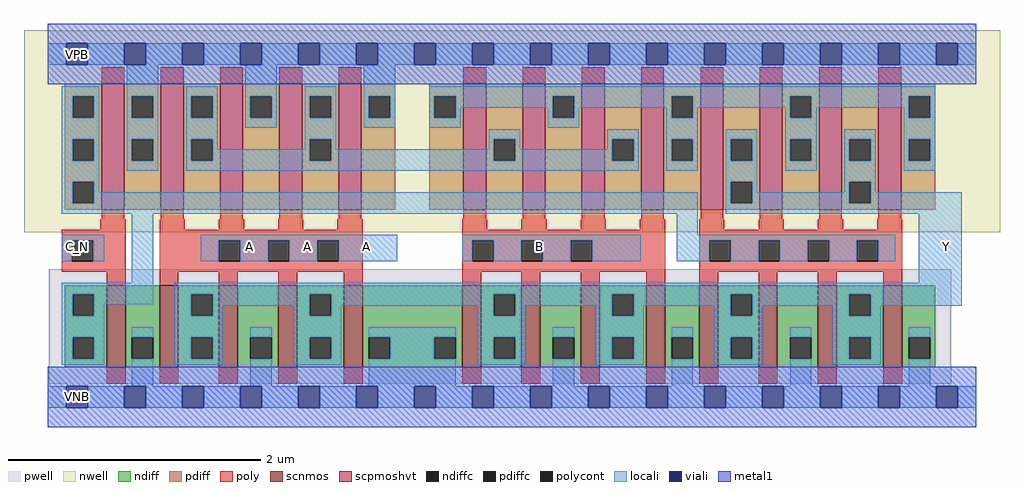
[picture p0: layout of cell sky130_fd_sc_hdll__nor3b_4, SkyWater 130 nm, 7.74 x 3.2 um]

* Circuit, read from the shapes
.subckt sky130_fd_sc_hdll__nor3b_4 A B C_N VGND VNB VPB VPWR Y
XM1 VGND C_N n1 VNB sky130_fd_pr__nfet_01v8 w=0.65 l=0.15
XM2 Y A VGND VNB sky130_fd_pr__nfet_01v8 w=0.65 l=0.15 m=4
XM3 Y B VGND VNB sky130_fd_pr__nfet_01v8 w=0.65 l=0.15 m=4
XM4 Y n1 VGND VNB sky130_fd_pr__nfet_01v8 w=0.65 l=0.15 m=4
XM5 VPWR C_N n1 VPB sky130_fd_pr__pfet_01v8_hvt w=1 l=0.18
XM6 n2 A VPWR VPB sky130_fd_pr__pfet_01v8_hvt w=1 l=0.18 m=4
XM7 n2 B n3 VPB sky130_fd_pr__pfet_01v8_hvt w=1 l=0.18 m=4
XM8 Y n1 n3 VPB sky130_fd_pr__pfet_01v8_hvt w=1 l=0.18 m=4
.ends

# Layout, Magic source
magic
tech sky130A
magscale 1 2
<< nwell >>
rect -38 261 1510 582
<< pwell >>
rect 1 21 1433 203
rect 30 -17 64 21
<< scnmos >>
rect 93 47 123 177
rect 177 47 207 177
rect 271 47 301 177
rect 365 47 395 177
rect 469 47 499 177
rect 657 47 687 177
rect 751 47 781 177
rect 845 47 875 177
rect 949 47 979 177
rect 1033 47 1063 177
rect 1127 47 1157 177
rect 1221 47 1251 177
rect 1325 47 1355 177
<< scpmoshvt >>
rect 85 297 121 497
rect 179 297 215 497
rect 273 297 309 497
rect 367 297 403 497
rect 461 297 497 497
rect 659 297 695 497
rect 753 297 789 497
rect 847 297 883 497
rect 941 297 977 497
rect 1035 297 1071 497
rect 1129 297 1165 497
rect 1223 297 1259 497
rect 1317 297 1353 497
<< ndiff >>
rect 27 163 93 177
rect 27 129 39 163
rect 73 129 93 163
rect 27 95 93 129
rect 27 61 39 95
rect 73 61 93 95
rect 27 47 93 61
rect 123 95 177 177
rect 123 61 133 95
rect 167 61 177 95
rect 123 47 177 61
rect 207 163 271 177
rect 207 129 227 163
rect 261 129 271 163
rect 207 95 271 129
rect 207 61 227 95
rect 261 61 271 95
rect 207 47 271 61
rect 301 95 365 177
rect 301 61 321 95
rect 355 61 365 95
rect 301 47 365 61
rect 395 163 469 177
rect 395 129 415 163
rect 449 129 469 163
rect 395 95 469 129
rect 395 61 415 95
rect 449 61 469 95
rect 395 47 469 61
rect 499 95 657 177
rect 499 61 509 95
rect 543 61 613 95
rect 647 61 657 95
rect 499 47 657 61
rect 687 163 751 177
rect 687 129 707 163
rect 741 129 751 163
rect 687 95 751 129
rect 687 61 707 95
rect 741 61 751 95
rect 687 47 751 61
rect 781 95 845 177
rect 781 61 801 95
rect 835 61 845 95
rect 781 47 845 61
rect 875 163 949 177
rect 875 129 895 163
rect 929 129 949 163
rect 875 95 949 129
rect 875 61 895 95
rect 929 61 949 95
rect 875 47 949 61
rect 979 95 1033 177
rect 979 61 989 95
rect 1023 61 1033 95
rect 979 47 1033 61
rect 1063 163 1127 177
rect 1063 129 1083 163
rect 1117 129 1127 163
rect 1063 95 1127 129
rect 1063 61 1083 95
rect 1117 61 1127 95
rect 1063 47 1127 61
rect 1157 95 1221 177
rect 1157 61 1177 95
rect 1211 61 1221 95
rect 1157 47 1221 61
rect 1251 163 1325 177
rect 1251 129 1271 163
rect 1305 129 1325 163
rect 1251 95 1325 129
rect 1251 61 1271 95
rect 1305 61 1325 95
rect 1251 47 1325 61
rect 1355 95 1407 177
rect 1355 61 1365 95
rect 1399 61 1407 95
rect 1355 47 1407 61
<< pdiff >>
rect 27 477 85 497
rect 27 443 39 477
rect 73 443 85 477
rect 27 409 85 443
rect 27 375 39 409
rect 73 375 85 409
rect 27 341 85 375
rect 27 307 39 341
rect 73 307 85 341
rect 27 297 85 307
rect 121 477 179 497
rect 121 443 133 477
rect 167 443 179 477
rect 121 409 179 443
rect 121 375 133 409
rect 167 375 179 409
rect 121 297 179 375
rect 215 477 273 497
rect 215 443 227 477
rect 261 443 273 477
rect 215 409 273 443
rect 215 375 227 409
rect 261 375 273 409
rect 215 297 273 375
rect 309 477 367 497
rect 309 443 321 477
rect 355 443 367 477
rect 309 297 367 443
rect 403 477 461 497
rect 403 443 415 477
rect 449 443 461 477
rect 403 409 461 443
rect 403 375 415 409
rect 449 375 461 409
rect 403 297 461 375
rect 497 477 551 497
rect 497 443 509 477
rect 543 443 551 477
rect 497 297 551 443
rect 605 477 659 497
rect 605 443 613 477
rect 647 443 659 477
rect 605 297 659 443
rect 695 409 753 497
rect 695 375 707 409
rect 741 375 753 409
rect 695 297 753 375
rect 789 477 847 497
rect 789 443 801 477
rect 835 443 847 477
rect 789 297 847 443
rect 883 409 941 497
rect 883 375 895 409
rect 929 375 941 409
rect 883 297 941 375
rect 977 477 1035 497
rect 977 443 989 477
rect 1023 443 1035 477
rect 977 409 1035 443
rect 977 375 989 409
rect 1023 375 1035 409
rect 977 297 1035 375
rect 1071 409 1129 497
rect 1071 375 1083 409
rect 1117 375 1129 409
rect 1071 341 1129 375
rect 1071 307 1083 341
rect 1117 307 1129 341
rect 1071 297 1129 307
rect 1165 477 1223 497
rect 1165 443 1177 477
rect 1211 443 1223 477
rect 1165 409 1223 443
rect 1165 375 1177 409
rect 1211 375 1223 409
rect 1165 297 1223 375
rect 1259 409 1317 497
rect 1259 375 1271 409
rect 1305 375 1317 409
rect 1259 341 1317 375
rect 1259 307 1271 341
rect 1305 307 1317 341
rect 1259 297 1317 307
rect 1353 477 1407 497
rect 1353 443 1365 477
rect 1399 443 1407 477
rect 1353 409 1407 443
rect 1353 375 1365 409
rect 1399 375 1407 409
rect 1353 297 1407 375
<< ndiffc >>
rect 39 129 73 163
rect 39 61 73 95
rect 133 61 167 95
rect 227 129 261 163
rect 227 61 261 95
rect 321 61 355 95
rect 415 129 449 163
rect 415 61 449 95
rect 509 61 543 95
rect 613 61 647 95
rect 707 129 741 163
rect 707 61 741 95
rect 801 61 835 95
rect 895 129 929 163
rect 895 61 929 95
rect 989 61 1023 95
rect 1083 129 1117 163
rect 1083 61 1117 95
rect 1177 61 1211 95
rect 1271 129 1305 163
rect 1271 61 1305 95
rect 1365 61 1399 95
<< pdiffc >>
rect 39 443 73 477
rect 39 375 73 409
rect 39 307 73 341
rect 133 443 167 477
rect 133 375 167 409
rect 227 443 261 477
rect 227 375 261 409
rect 321 443 355 477
rect 415 443 449 477
rect 415 375 449 409
rect 509 443 543 477
rect 613 443 647 477
rect 707 375 741 409
rect 801 443 835 477
rect 895 375 929 409
rect 989 443 1023 477
rect 989 375 1023 409
rect 1083 375 1117 409
rect 1083 307 1117 341
rect 1177 443 1211 477
rect 1177 375 1211 409
rect 1271 375 1305 409
rect 1271 307 1305 341
rect 1365 443 1399 477
rect 1365 375 1399 409
<< poly >>
rect 85 497 121 523
rect 179 497 215 523
rect 273 497 309 523
rect 367 497 403 523
rect 461 497 497 523
rect 659 497 695 523
rect 753 497 789 523
rect 847 497 883 523
rect 941 497 977 523
rect 1035 497 1071 523
rect 1129 497 1165 523
rect 1223 497 1259 523
rect 1317 497 1353 523
rect 85 282 121 297
rect 179 282 215 297
rect 273 282 309 297
rect 367 282 403 297
rect 461 282 497 297
rect 659 282 695 297
rect 753 282 789 297
rect 847 282 883 297
rect 941 282 977 297
rect 1035 282 1071 297
rect 1129 282 1165 297
rect 1223 282 1259 297
rect 1317 282 1353 297
rect 83 265 123 282
rect 22 249 123 265
rect 22 215 38 249
rect 72 215 123 249
rect 22 199 123 215
rect 93 177 123 199
rect 177 265 217 282
rect 271 265 311 282
rect 365 265 405 282
rect 459 265 499 282
rect 177 249 499 265
rect 177 215 271 249
rect 305 215 349 249
rect 383 215 427 249
rect 461 215 499 249
rect 177 199 499 215
rect 177 177 207 199
rect 271 177 301 199
rect 365 177 395 199
rect 469 177 499 199
rect 657 265 697 282
rect 751 265 791 282
rect 845 265 885 282
rect 939 265 979 282
rect 657 249 979 265
rect 657 215 673 249
rect 707 215 751 249
rect 785 215 829 249
rect 863 215 979 249
rect 657 199 979 215
rect 657 177 687 199
rect 751 177 781 199
rect 845 177 875 199
rect 949 177 979 199
rect 1033 265 1073 282
rect 1127 265 1167 282
rect 1221 265 1261 282
rect 1315 265 1355 282
rect 1033 249 1355 265
rect 1033 215 1049 249
rect 1083 215 1127 249
rect 1161 215 1205 249
rect 1239 215 1283 249
rect 1317 215 1355 249
rect 1033 199 1355 215
rect 1033 177 1063 199
rect 1127 177 1157 199
rect 1221 177 1251 199
rect 1325 177 1355 199
rect 93 21 123 47
rect 177 21 207 47
rect 271 21 301 47
rect 365 21 395 47
rect 469 21 499 47
rect 657 21 687 47
rect 751 21 781 47
rect 845 21 875 47
rect 949 21 979 47
rect 1033 21 1063 47
rect 1127 21 1157 47
rect 1221 21 1251 47
rect 1325 21 1355 47
<< polycont >>
rect 38 215 72 249
rect 271 215 305 249
rect 349 215 383 249
rect 427 215 461 249
rect 673 215 707 249
rect 751 215 785 249
rect 829 215 863 249
rect 1049 215 1083 249
rect 1127 215 1161 249
rect 1205 215 1239 249
rect 1283 215 1317 249
<< locali >>
rect 0 527 29 561
rect 63 527 121 561
rect 155 527 213 561
rect 247 527 305 561
rect 339 527 397 561
rect 431 527 489 561
rect 523 527 581 561
rect 615 527 673 561
rect 707 527 765 561
rect 799 527 857 561
rect 891 527 949 561
rect 983 527 1041 561
rect 1075 527 1133 561
rect 1167 527 1225 561
rect 1259 527 1317 561
rect 1351 527 1409 561
rect 1443 527 1472 561
rect 22 477 81 493
rect 22 443 39 477
rect 73 443 81 477
rect 22 409 81 443
rect 22 375 39 409
rect 73 375 81 409
rect 22 341 81 375
rect 125 477 175 527
rect 125 443 133 477
rect 167 443 175 477
rect 125 409 175 443
rect 125 375 133 409
rect 167 375 175 409
rect 125 359 175 375
rect 219 477 269 493
rect 219 443 227 477
rect 261 443 269 477
rect 219 409 269 443
rect 313 477 363 527
rect 313 443 321 477
rect 355 443 363 477
rect 313 427 363 443
rect 407 477 457 493
rect 407 443 415 477
rect 449 443 457 477
rect 219 375 227 409
rect 261 393 269 409
rect 407 409 457 443
rect 501 477 551 527
rect 501 443 509 477
rect 543 443 551 477
rect 501 427 551 443
rect 605 477 1407 493
rect 605 443 613 477
rect 647 459 801 477
rect 647 443 655 459
rect 605 427 655 443
rect 793 443 801 459
rect 835 459 989 477
rect 835 443 843 459
rect 793 427 843 443
rect 981 443 989 459
rect 1023 459 1177 477
rect 1023 443 1031 459
rect 407 393 415 409
rect 261 375 415 393
rect 449 393 457 409
rect 699 409 749 425
rect 699 393 707 409
rect 449 375 707 393
rect 741 393 749 409
rect 887 409 937 425
rect 887 393 895 409
rect 741 375 895 393
rect 929 375 937 409
rect 219 359 937 375
rect 981 409 1031 443
rect 1169 443 1177 459
rect 1211 459 1365 477
rect 1211 443 1219 459
rect 981 375 989 409
rect 1023 375 1031 409
rect 981 359 1031 375
rect 1075 409 1125 425
rect 1075 375 1083 409
rect 1117 375 1125 409
rect 22 307 39 341
rect 73 325 81 341
rect 1075 341 1125 375
rect 1169 409 1219 443
rect 1357 443 1365 459
rect 1399 443 1407 477
rect 1169 375 1177 409
rect 1211 375 1219 409
rect 1169 359 1219 375
rect 1263 409 1313 425
rect 1263 375 1271 409
rect 1305 375 1313 409
rect 73 307 1031 325
rect 22 291 1031 307
rect 1075 307 1083 341
rect 1117 325 1125 341
rect 1263 341 1313 375
rect 1357 409 1407 443
rect 1357 375 1365 409
rect 1399 375 1407 409
rect 1357 359 1407 375
rect 1263 325 1271 341
rect 1117 307 1271 325
rect 1305 325 1313 341
rect 1305 307 1449 325
rect 1075 291 1449 307
rect 22 249 89 257
rect 22 215 38 249
rect 72 215 89 249
rect 133 181 167 291
rect 997 257 1031 291
rect 242 249 554 257
rect 242 215 271 249
rect 305 215 349 249
rect 383 215 427 249
rect 461 215 554 249
rect 657 249 940 257
rect 657 215 673 249
rect 707 215 751 249
rect 785 215 829 249
rect 863 215 940 249
rect 997 249 1344 257
rect 997 215 1049 249
rect 1083 215 1127 249
rect 1161 215 1205 249
rect 1239 215 1283 249
rect 1317 215 1344 249
rect 1381 181 1449 291
rect 22 163 167 181
rect 22 129 39 163
rect 73 147 167 163
rect 201 163 1449 181
rect 73 129 89 147
rect 22 95 89 129
rect 201 129 227 163
rect 261 145 415 163
rect 261 129 277 145
rect 22 61 39 95
rect 73 61 89 95
rect 22 51 89 61
rect 133 95 167 111
rect 133 17 167 61
rect 201 95 277 129
rect 389 129 415 145
rect 449 145 707 163
rect 449 129 465 145
rect 201 61 227 95
rect 261 61 277 95
rect 201 51 277 61
rect 321 95 355 111
rect 321 17 355 61
rect 389 95 465 129
rect 681 129 707 145
rect 741 145 895 163
rect 741 129 757 145
rect 389 61 415 95
rect 449 61 465 95
rect 389 51 465 61
rect 509 95 647 111
rect 543 61 613 95
rect 509 17 647 61
rect 681 95 757 129
rect 869 129 895 145
rect 929 145 1083 163
rect 929 129 945 145
rect 681 61 707 95
rect 741 61 757 95
rect 681 51 757 61
rect 801 95 835 111
rect 801 17 835 61
rect 869 95 945 129
rect 1057 129 1083 145
rect 1117 145 1271 163
rect 1117 129 1133 145
rect 869 61 895 95
rect 929 61 945 95
rect 869 51 945 61
rect 989 95 1023 111
rect 989 17 1023 61
rect 1057 95 1133 129
rect 1245 129 1271 145
rect 1305 145 1449 163
rect 1305 129 1321 145
rect 1057 61 1083 95
rect 1117 61 1133 95
rect 1057 51 1133 61
rect 1177 95 1211 111
rect 1177 17 1211 61
rect 1245 95 1321 129
rect 1245 61 1271 95
rect 1305 61 1321 95
rect 1245 51 1321 61
rect 1365 95 1399 111
rect 1365 17 1399 61
rect 0 -17 29 17
rect 63 -17 121 17
rect 155 -17 213 17
rect 247 -17 305 17
rect 339 -17 397 17
rect 431 -17 489 17
rect 523 -17 581 17
rect 615 -17 673 17
rect 707 -17 765 17
rect 799 -17 857 17
rect 891 -17 949 17
rect 983 -17 1041 17
rect 1075 -17 1133 17
rect 1167 -17 1225 17
rect 1259 -17 1317 17
rect 1351 -17 1409 17
rect 1443 -17 1472 17
<< viali >>
rect 29 527 63 561
rect 121 527 155 561
rect 213 527 247 561
rect 305 527 339 561
rect 397 527 431 561
rect 489 527 523 561
rect 581 527 615 561
rect 673 527 707 561
rect 765 527 799 561
rect 857 527 891 561
rect 949 527 983 561
rect 1041 527 1075 561
rect 1133 527 1167 561
rect 1225 527 1259 561
rect 1317 527 1351 561
rect 1409 527 1443 561
rect 29 -17 63 17
rect 121 -17 155 17
rect 213 -17 247 17
rect 305 -17 339 17
rect 397 -17 431 17
rect 489 -17 523 17
rect 581 -17 615 17
rect 673 -17 707 17
rect 765 -17 799 17
rect 857 -17 891 17
rect 949 -17 983 17
rect 1041 -17 1075 17
rect 1133 -17 1167 17
rect 1225 -17 1259 17
rect 1317 -17 1351 17
rect 1409 -17 1443 17
<< metal1 >>
rect 0 561 1472 592
rect 0 527 29 561
rect 63 527 121 561
rect 155 527 213 561
rect 247 527 305 561
rect 339 527 397 561
rect 431 527 489 561
rect 523 527 581 561
rect 615 527 673 561
rect 707 527 765 561
rect 799 527 857 561
rect 891 527 949 561
rect 983 527 1041 561
rect 1075 527 1133 561
rect 1167 527 1225 561
rect 1259 527 1317 561
rect 1351 527 1409 561
rect 1443 527 1472 561
rect 0 496 1472 527
rect 0 17 1472 48
rect 0 -17 29 17
rect 63 -17 121 17
rect 155 -17 213 17
rect 247 -17 305 17
rect 339 -17 397 17
rect 431 -17 489 17
rect 523 -17 581 17
rect 615 -17 673 17
rect 707 -17 765 17
rect 799 -17 857 17
rect 891 -17 949 17
rect 983 -17 1041 17
rect 1075 -17 1133 17
rect 1167 -17 1225 17
rect 1259 -17 1317 17
rect 1351 -17 1409 17
rect 1443 -17 1472 17
rect 0 -48 1472 -17
<< labels >>
flabel locali s 395 221 429 255 0 FreeSans 400 0 0 0 A
port 1 nsew signal input
flabel locali s 488 221 522 255 0 FreeSans 400 0 0 0 A
port 1 nsew signal input
flabel locali s 303 221 337 255 0 FreeSans 400 0 0 0 A
port 1 nsew signal input
flabel locali s 30 221 64 255 0 FreeSans 400 0 0 0 C_N
port 3 nsew signal input
flabel locali s 763 221 797 255 0 FreeSans 400 0 0 0 B
port 2 nsew signal input
flabel locali s 1408 221 1442 255 0 FreeSans 400 0 0 0 Y
port 8 nsew signal output
flabel nwell s 30 527 64 561 0 FreeSans 200 0 0 0 VPB
port 6 nsew power bidirectional
flabel pwell s 30 -17 64 17 0 FreeSans 200 0 0 0 VNB
port 5 nsew ground bidirectional
flabel metal1 s 30 -17 64 17 0 FreeSans 200 0 0 0 VGND
port 4 nsew ground bidirectional
flabel metal1 s 30 527 64 561 0 FreeSans 200 0 0 0 VPWR
port 7 nsew power bidirectional
rlabel comment s 0 0 0 0 4 nor3b_4
<< properties >>
string LEFsite unithd
string LEFclass CORE
string FIXED_BBOX 0 0 1472 544
string GDS_FILE $PDKPATH/libs.ref/sky130_fd_sc_hdll/gds/sky130_fd_sc_hdll.gds
string LEFsymmetry X Y R90
string GDS_END 235538
string GDS_START 224894
string LEFproperties maskLayoutSubType "abstract" prCellType "standard" originalViewName "layout"
<< end >>
